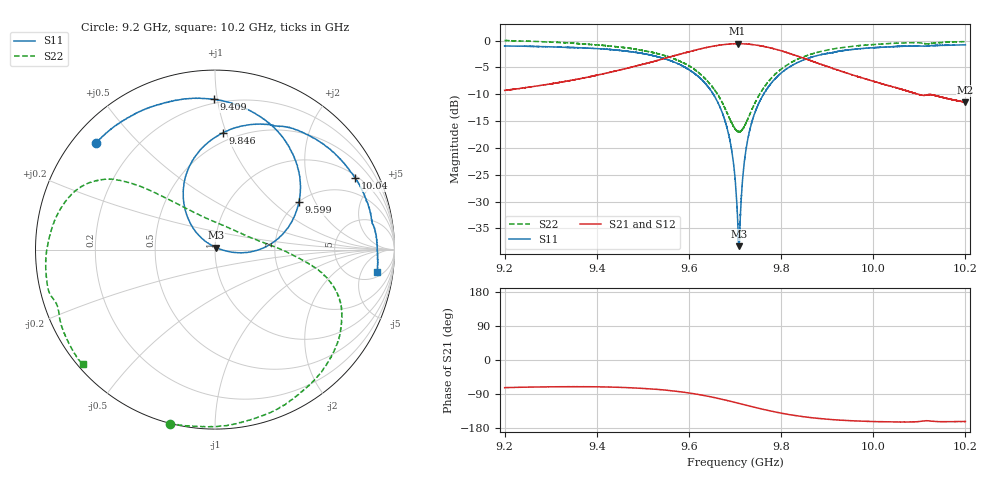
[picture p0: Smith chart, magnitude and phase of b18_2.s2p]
!Agilent Technologies,N5242A,MY51221714,A.09.90.19
!Agilent N5242A: A.09.90.19
!Date: Tuesday, March 26, 2024 16:58:14
!Correction: S11(Full 2 Port(1,2))
!S21(Full 2 Port(1,2))
!S12(Full 2 Port(1,2))
!S22(Full 2 Port(1,2))
!S2P File: Measurements: S11, S21, S12, S22:
# Hz S  dB  R 50
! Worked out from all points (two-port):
!   16001 points, 9.2 GHz to 10.2 GHz, reference 50 ohm
!   highest |S21| = -0.58 dB at 9.705 GHz (marker M1); lowest = -11.5 dB at 10.2 GHz (marker M2)
!   |S21| within 3 dB of the highest: 9.536658 GHz to 9.536793 GHz (135.3 kHz wide, 0.00142 % of centre); 9.537 GHz to 9.859 GHz (322 MHz wide, 3.32 % of centre)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
!   lowest |S11| = -38.3 dB at 9.709 GHz (marker M3), VSWR 1.02, Z = 50.5 + j1.12 ohm
!   |S11| at or under -10 dB: 9.653 GHz to 9.762 GHz (109 MHz wide, 1.12 % of centre)
!   |S22| runs from -17.1 to 0.0 dB; largest |S21 - S12| = 0.013
!   S11 on the Smith chart (normalised r, x): 9.2 GHz: 0.07, +0.38; 9.409 GHz: 0.17, +0.98; 9.599 GHz: 2.01, +1.51; 9.846 GHz: 0.43, +0.97; 10.04 GHz: 1.12, +3.86; 10.2 GHz: 7, -10
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9.2e9  -1.01 138.2  -9.27 -73.0  -9.25 -73.7  0.01 -104.5
9.277375e9  -1.12 121.5  -8.36 -71.1  -8.35 -71.8  -0.21 -83.5
9.366688e9  -1.35 101.1  -7.05 -70.5  -7.03 -71.1  -0.62 -60.2
9.409e9  -1.54 90.5  -6.28 -70.9  -6.27 -71.7  -0.86 -49.6
9.533375e9  -3.06 54.1  -3.66 -77.7  -3.65 -78.4  -2.44 -22.4
9.599188e9  -5.37 29.7  -2.11 -86.9  -2.10 -87.5  -4.66 -11.0
9.66825e9  -12.55 -0.9  -0.83 -102.6  -0.83 -103.2  -10.87 6.8
9.688188e9  -18.28 -7.9  -0.65 -108.3  -0.64 -108.9  -14.48 24.9
9.7e9  -25.50 -6.4  -0.59 -111.9  -0.58 -112.5  -16.41 46.1
9.705438e9  -32.73 11.9  -0.58 -113.6  -0.58 -114.1  -16.88 58.7
9.7085e9  -38.29 66.2  -0.59 -114.5  -0.58 -115.1  -17.00 66.2
9.711375e9  -33.29 117.0  -0.60 -115.4  -0.58 -116.0  -16.91 73.5
9.723938e9  -20.30 139.3  -0.63 -119.3  -0.62 -119.9  -15.32 101.0
9.745438e9  -12.92 131.2  -0.83 -125.6  -0.82 -126.3  -11.27 124.4
9.786312e9  -7.18 112.1  -1.57 -136.9  -1.57 -137.5  -6.34 137.4
9.84575e9  -3.72 86.2  -3.17 -149.2  -3.19 -149.7  -3.12 145.9
9.866688e9  -3.08 78.2  -3.81 -152.3  -3.82 -152.9  -2.49 148.8
9.93425e9  -1.88 55.9  -5.83 -159.1  -5.82 -159.6  -1.28 160.0
1.003338e10  -1.18 28.8  -8.41 -163.1  -8.40 -163.7  -0.56 -179.6
1.004081e10  -1.14 27.0  -8.57 -163.2  -8.56 -163.7  -0.52 -178.0
1.019988e10  -0.81 -7.8  -11.49 -162.2  -11.48 -162.8  -0.20 -139.1
1.02e10  -0.79 -7.9  -11.47 -162.2  -11.47 -162.8  -0.20 -139.1
